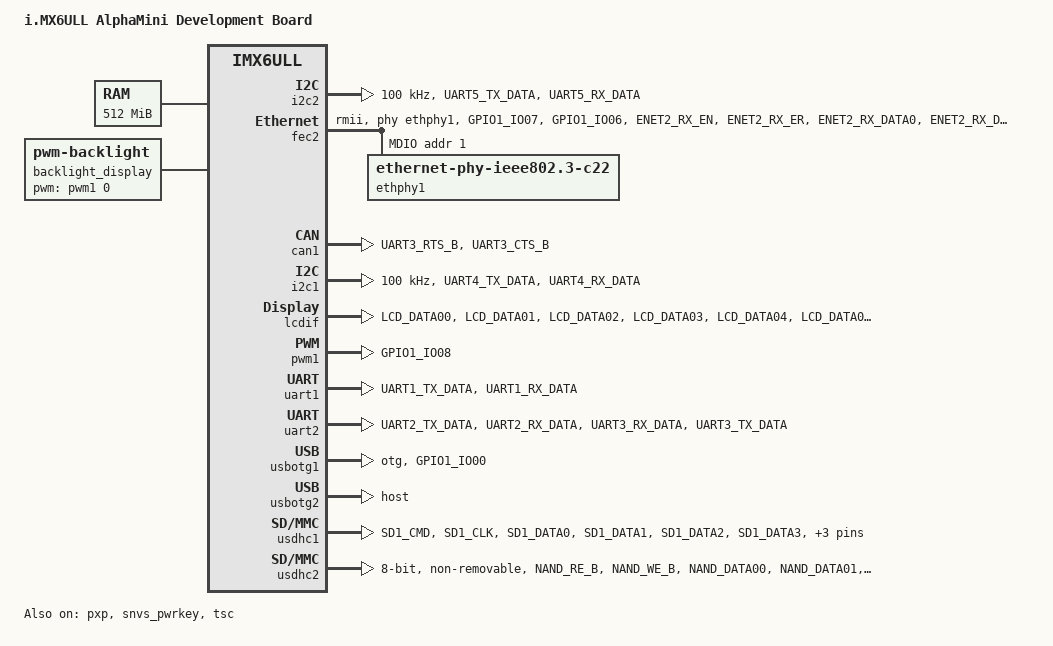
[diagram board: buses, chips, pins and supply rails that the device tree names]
/*
 * Copyright 2019 NXP
 *
 * This program is free software; you can redistribute it and/or
 * modify it under the terms of the GNU General Public License
 * as published by the Free Software Foundation; either version 2
 * of the License, or (at your option) any later version.
 */

/dts-v1/;

#include "imx6ull.dtsi"

/ {
	model = "i.MX6ULL AlphaMini Development Board";
	compatible = "fsl,imx6ull-alphamini", "fsl,imx6ull";

	chosen {
		stdout-path = &uart1;
	};

	memory@80000000 {
		device_type = "memory";
		reg = <0x80000000 0x20000000>;
	};

	reserved-memory {
		#address-cells = <1>;
		#size-cells = <1>;
		ranges;

		linux,cma {
			compatible = "shared-dma-pool";
			reusable;
			size = <0xa000000>;
			linux,cma-default;
		};
	};

	backlight_display: backlight-display {
		compatible = "pwm-backlight";
		pwms = <&pwm1 0 5000000>;
		brightness-levels = <0 4 8 16 32 64 128 255>;
		default-brightness-level = <6>;
		status = "okay";
	};

	pxp_v4l2 {
		compatible = "fsl,imx6ul-pxp-v4l2", "fsl,imx6sx-pxp-v4l2", "fsl,imx6sl-pxp-v4l2";
		status = "okay";
	};
};

&clks {
	assigned-clocks = <&clks IMX6UL_CLK_PLL3_PFD2>,
			  <&clks IMX6UL_CLK_PLL4_AUDIO_DIV>;
	assigned-clock-rates = <320000000>, <786432000>;
};

&i2c2 {
	clock-frequency = <100000>;
	pinctrl-names = "default";
	pinctrl-0 = <&pinctrl_i2c2>;
	status = "okay";
};

&fec2 {
	pinctrl-names = "default";
	pinctrl-0 = <&pinctrl_enet2
				 &pinctrl_enet2_reset>;
	phy-mode = "rmii";
	phy-handle = <&ethphy1>;
	phy-reset-gpios = <&gpio5 8 GPIO_ACTIVE_LOW>;
	phy-reset-duration = <20>;
	phy-reset-post-delay = <20>;
	status = "okay";

	mdio {
		#address-cells = <1>;
		#size-cells = <0>;
		ethphy1: ethernet-phy@1 {
			compatible = "ethernet-phy-ieee802.3-c22";
			reg = <1>;
			smsc,disable-energy-detect;
			clocks = <&clks IMX6UL_CLK_ENET2_REF>;
			clock-names = "rmii-ref";
		};
	};
};

&can1 {
	pinctrl-names = "default";
	pinctrl-0 = <&pinctrl_flexcan1>;
	status = "okay";
};

&i2c1 {
	clock-frequency = <100000>;
	pinctrl-names = "default";
	pinctrl-0 = <&pinctrl_i2c1>;
	status = "okay";
};

&lcdif {
	assigned-clocks = <&clks IMX6UL_CLK_LCDIF_PRE_SEL>;
	assigned-clock-parents = <&clks IMX6UL_CLK_PLL5_VIDEO_DIV>;
	pinctrl-names = "default";
	pinctrl-0 = <&pinctrl_lcdif_dat
		     &pinctrl_lcdif_ctrl>;
	display = <&display0>;
	status = "okay";

	display0: display@0 {
		bits-per-pixel = <24>;
		bus-width = <24>;

		display-timings {
			native-mode = <&timing0>;

			timing0: timing0 {
				clock-frequency = <30000000>;
				hactive = <800>;
				vactive = <480>;
				hfront-porch = <40>;
				hback-porch = <88>;
				hsync-len = <48>;
				vback-porch = <32>;
				vfront-porch = <13>;
				vsync-len = <3>;
				hsync-active = <0>;
				vsync-active = <0>;
				de-active = <1>;
				pixelclk-active = <0>;
			};
		};
	};
};

&pwm1 {
	#pwm-cells = <2>;
	pinctrl-names = "default";
	pinctrl-0 = <&pinctrl_pwm1>;
	status = "okay";
};

&pxp {
	status = "okay";
};

&snvs_poweroff {
	status = "okay";
};

&snvs_pwrkey {
	status = "okay";
};

&tsc {
	pinctrl-names = "default";
	pinctrl-0 = <&pinctrl_tsc>;
	xnur-gpio = <&gpio1 3 GPIO_ACTIVE_LOW>;
	measure-delay-time = <0xffff>;
	pre-charge-time = <0xfff>;
	status = "okay";
};

&uart1 {
	pinctrl-names = "default";
	pinctrl-0 = <&pinctrl_uart1>;
	status = "okay";
};

&uart2 {
	pinctrl-names = "default";
	pinctrl-0 = <&pinctrl_uart2>;
	uart-has-rtscts;
	/* for DTE mode, add below change */
	/* fsl,dte-mode; */
	/* pinctrl-0 = <&pinctrl_uart2dte>; */
	status = "okay";
};

&usbotg1 {
	dr_mode = "otg";
	pinctrl-names = "default";
	pinctrl-0 = <&pinctrl_usb_otg1>;
	status = "okay";
};

&usbotg2 {
	dr_mode = "host";
	disable-over-current;
	status = "okay";
};

&usbphy1 {
	fsl,tx-d-cal = <106>;
};

&usbphy2 {
	fsl,tx-d-cal = <106>;
};

&usdhc1 {
	pinctrl-names = "default", "state_100mhz", "state_200mhz";
	pinctrl-0 = <&pinctrl_usdhc1>;
	pinctrl-1 = <&pinctrl_usdhc1_100mhz>;
	pinctrl-2 = <&pinctrl_usdhc1_200mhz>;
	cd-gpios = <&gpio1 19 GPIO_ACTIVE_LOW>;
	keep-power-in-suspend;
	wakeup-source;
	status = "okay";
};

&usdhc2 {
	pinctrl-names = "default", "state_100mhz", "state_200mhz";
	pinctrl-0 = <&pinctrl_usdhc2_8bit>;
	pinctrl-1 = <&pinctrl_usdhc2_8bit_100mhz>;
	pinctrl-2 = <&pinctrl_usdhc2_8bit_200mhz>;
	bus-width = <8>;
	non-removable;
	no-1-8-v;
	status = "okay";
};


&wdog1 {
	pinctrl-names = "default";
	pinctrl-0 = <&pinctrl_wdog>;
	fsl,ext-reset-output;
};

&iomuxc {
	pinctrl-names = "default";

	pinctrl_enet2: enet2grp {
		fsl,pins = <
			MX6UL_PAD_GPIO1_IO07__ENET2_MDC		0x1b0b0
			MX6UL_PAD_GPIO1_IO06__ENET2_MDIO	0x1b0b0
			MX6UL_PAD_ENET2_RX_EN__ENET2_RX_EN	0x1b0b0
			MX6UL_PAD_ENET2_RX_ER__ENET2_RX_ER	0x1b0b0
			MX6UL_PAD_ENET2_RX_DATA0__ENET2_RDATA00	0x1b0b0
			MX6UL_PAD_ENET2_RX_DATA1__ENET2_RDATA01	0x1b0b0
			MX6UL_PAD_ENET2_TX_EN__ENET2_TX_EN	0x1b0b0
			MX6UL_PAD_ENET2_TX_DATA0__ENET2_TDATA00	0x1b0b0
			MX6UL_PAD_ENET2_TX_DATA1__ENET2_TDATA01	0x1b0b0
			MX6UL_PAD_ENET2_TX_CLK__ENET2_REF_CLK2	0x4001b009
		>;
	};

	pinctrl_enet2_reset: enet2rstgrp {
		fsl,pins = <
			MX6ULL_PAD_SNVS_TAMPER8__GPIO5_IO08	0x10b0
		>;
	};

	pinctrl_flexcan1: flexcan1grp{
		fsl,pins = <
			MX6UL_PAD_UART3_RTS_B__FLEXCAN1_RX	0x1b020
			MX6UL_PAD_UART3_CTS_B__FLEXCAN1_TX	0x1b020
		>;
	};

	pinctrl_i2c1: i2c1grp {
		fsl,pins = <
			MX6UL_PAD_UART4_TX_DATA__I2C1_SCL 0x4001b8b0
			MX6UL_PAD_UART4_RX_DATA__I2C1_SDA 0x4001b8b0
		>;
	};

	pinctrl_i2c2: i2c2grp {
		fsl,pins = <
			MX6UL_PAD_UART5_TX_DATA__I2C2_SCL 0x4001b8b0
			MX6UL_PAD_UART5_RX_DATA__I2C2_SDA 0x4001b8b0
		>;
	};

	pinctrl_lcdif_dat: lcdifdatgrp {
		fsl,pins = <
			MX6UL_PAD_LCD_DATA00__LCDIF_DATA00  0x79
			MX6UL_PAD_LCD_DATA01__LCDIF_DATA01  0x79
			MX6UL_PAD_LCD_DATA02__LCDIF_DATA02  0x79
			MX6UL_PAD_LCD_DATA03__LCDIF_DATA03  0x79
			MX6UL_PAD_LCD_DATA04__LCDIF_DATA04  0x79
			MX6UL_PAD_LCD_DATA05__LCDIF_DATA05  0x79
			MX6UL_PAD_LCD_DATA06__LCDIF_DATA06  0x79
			MX6UL_PAD_LCD_DATA07__LCDIF_DATA07  0x79
			MX6UL_PAD_LCD_DATA08__LCDIF_DATA08  0x79
			MX6UL_PAD_LCD_DATA09__LCDIF_DATA09  0x79
			MX6UL_PAD_LCD_DATA10__LCDIF_DATA10  0x79
			MX6UL_PAD_LCD_DATA11__LCDIF_DATA11  0x79
			MX6UL_PAD_LCD_DATA12__LCDIF_DATA12  0x79
			MX6UL_PAD_LCD_DATA13__LCDIF_DATA13  0x79
			MX6UL_PAD_LCD_DATA14__LCDIF_DATA14  0x79
			MX6UL_PAD_LCD_DATA15__LCDIF_DATA15  0x79
			MX6UL_PAD_LCD_DATA16__LCDIF_DATA16  0x79
			MX6UL_PAD_LCD_DATA17__LCDIF_DATA17  0x79
			MX6UL_PAD_LCD_DATA18__LCDIF_DATA18  0x79
			MX6UL_PAD_LCD_DATA19__LCDIF_DATA19  0x79
			MX6UL_PAD_LCD_DATA20__LCDIF_DATA20  0x79
			MX6UL_PAD_LCD_DATA21__LCDIF_DATA21  0x79
			MX6UL_PAD_LCD_DATA22__LCDIF_DATA22  0x79
			MX6UL_PAD_LCD_DATA23__LCDIF_DATA23  0x79
		>;
	};

	pinctrl_lcdif_ctrl: lcdifctrlgrp {
		fsl,pins = <
			MX6UL_PAD_LCD_CLK__LCDIF_CLK	    0x79
			MX6UL_PAD_LCD_ENABLE__LCDIF_ENABLE  0x79
			MX6UL_PAD_LCD_HSYNC__LCDIF_HSYNC    0x79
			MX6UL_PAD_LCD_VSYNC__LCDIF_VSYNC    0x79
			/* used for lcd reset */
			MX6UL_PAD_SNVS_TAMPER9__GPIO5_IO09  0x79
		>;
	};

	pinctrl_pwm1: pwm1grp {
		fsl,pins = <
			MX6UL_PAD_GPIO1_IO08__PWM1_OUT   0x110b0
		>;
	};

	pinctrl_tsc: tscgrp {
		fsl,pins = <
			MX6UL_PAD_GPIO1_IO01__GPIO1_IO01		0xb0
			MX6UL_PAD_GPIO1_IO02__GPIO1_IO02		0xb0
			MX6UL_PAD_GPIO1_IO03__GPIO1_IO03		0xb0
			MX6UL_PAD_GPIO1_IO04__GPIO1_IO04		0xb0
		>;
	};

	pinctrl_uart1: uart1grp {
		fsl,pins = <
			MX6UL_PAD_UART1_TX_DATA__UART1_DCE_TX 0x1b0b1
			MX6UL_PAD_UART1_RX_DATA__UART1_DCE_RX 0x1b0b1
		>;
	};

	pinctrl_uart2: uart2grp {
		fsl,pins = <
			MX6UL_PAD_UART2_TX_DATA__UART2_DCE_TX	0x1b0b1
			MX6UL_PAD_UART2_RX_DATA__UART2_DCE_RX	0x1b0b1
			MX6UL_PAD_UART3_RX_DATA__UART2_DCE_RTS	0x1b0b1
			MX6UL_PAD_UART3_TX_DATA__UART2_DCE_CTS	0x1b0b1
		>;
	};

	pinctrl_uart2dte: uart2dtegrp {
		fsl,pins = <
			MX6UL_PAD_UART2_TX_DATA__UART2_DTE_RX	0x1b0b1
			MX6UL_PAD_UART2_RX_DATA__UART2_DTE_TX	0x1b0b1
			MX6UL_PAD_UART3_RX_DATA__UART2_DTE_CTS	0x1b0b1
			MX6UL_PAD_UART3_TX_DATA__UART2_DTE_RTS	0x1b0b1
		>;
	};

	pinctrl_usb_otg1: usbotg1grp {
		fsl,pins = <
			MX6UL_PAD_GPIO1_IO00__ANATOP_OTG1_ID	0x17059
		>;
	};

	pinctrl_usdhc1: usdhc1grp {
		fsl,pins = <
			MX6UL_PAD_SD1_CMD__USDHC1_CMD     	0x17059
			MX6UL_PAD_SD1_CLK__USDHC1_CLK		0x10071
			MX6UL_PAD_SD1_DATA0__USDHC1_DATA0 	0x17059
			MX6UL_PAD_SD1_DATA1__USDHC1_DATA1 	0x17059
			MX6UL_PAD_SD1_DATA2__USDHC1_DATA2 	0x17059
			MX6UL_PAD_SD1_DATA3__USDHC1_DATA3 	0x17059
			MX6UL_PAD_UART1_RTS_B__GPIO1_IO19       0x17059 /* SD1 CD */
			MX6UL_PAD_GPIO1_IO05__USDHC1_VSELECT    0x17059 /* SD1 VSELECT */
		>;
	};

	pinctrl_usdhc1_100mhz: usdhc1grp100mhz {
		fsl,pins = <
			MX6UL_PAD_SD1_CMD__USDHC1_CMD     0x170b9
			MX6UL_PAD_SD1_CLK__USDHC1_CLK     0x100b9
			MX6UL_PAD_SD1_DATA0__USDHC1_DATA0 0x170b9
			MX6UL_PAD_SD1_DATA1__USDHC1_DATA1 0x170b9
			MX6UL_PAD_SD1_DATA2__USDHC1_DATA2 0x170b9
			MX6UL_PAD_SD1_DATA3__USDHC1_DATA3 0x170b9

		>;
	};

	pinctrl_usdhc1_200mhz: usdhc1grp200mhz {
		fsl,pins = <
			MX6UL_PAD_SD1_CMD__USDHC1_CMD     0x170f9
			MX6UL_PAD_SD1_CLK__USDHC1_CLK     0x100f9
			MX6UL_PAD_SD1_DATA0__USDHC1_DATA0 0x170f9
			MX6UL_PAD_SD1_DATA1__USDHC1_DATA1 0x170f9
			MX6UL_PAD_SD1_DATA2__USDHC1_DATA2 0x170f9
			MX6UL_PAD_SD1_DATA3__USDHC1_DATA3 0x170f9
		>;
	};

	pinctrl_usdhc2: usdhc2grp {
		fsl,pins = <
			MX6UL_PAD_NAND_RE_B__USDHC2_CLK     0x17059
			MX6UL_PAD_NAND_WE_B__USDHC2_CMD     0x17059
			MX6UL_PAD_NAND_DATA00__USDHC2_DATA0 0x17059
			MX6UL_PAD_NAND_DATA01__USDHC2_DATA1 0x17059
			MX6UL_PAD_NAND_DATA02__USDHC2_DATA2 0x17059
			MX6UL_PAD_NAND_DATA03__USDHC2_DATA3 0x17059
		>;
	};

	pinctrl_usdhc2_8bit: usdhc2grp_8bit {
		fsl,pins = <
			MX6UL_PAD_NAND_RE_B__USDHC2_CLK     0x10069
			MX6UL_PAD_NAND_WE_B__USDHC2_CMD     0x17059
			MX6UL_PAD_NAND_DATA00__USDHC2_DATA0 0x17059
			MX6UL_PAD_NAND_DATA01__USDHC2_DATA1 0x17059
			MX6UL_PAD_NAND_DATA02__USDHC2_DATA2 0x17059
			MX6UL_PAD_NAND_DATA03__USDHC2_DATA3 0x17059
			MX6UL_PAD_NAND_DATA04__USDHC2_DATA4 0x17059
			MX6UL_PAD_NAND_DATA05__USDHC2_DATA5 0x17059
			MX6UL_PAD_NAND_DATA06__USDHC2_DATA6 0x17059
			MX6UL_PAD_NAND_DATA07__USDHC2_DATA7 0x17059
		>;
	};

	pinctrl_usdhc2_8bit_100mhz: usdhc2grp_8bit_100mhz {
		fsl,pins = <
			MX6UL_PAD_NAND_RE_B__USDHC2_CLK     0x100b9
			MX6UL_PAD_NAND_WE_B__USDHC2_CMD     0x170b9
			MX6UL_PAD_NAND_DATA00__USDHC2_DATA0 0x170b9
			MX6UL_PAD_NAND_DATA01__USDHC2_DATA1 0x170b9
			MX6UL_PAD_NAND_DATA02__USDHC2_DATA2 0x170b9
			MX6UL_PAD_NAND_DATA03__USDHC2_DATA3 0x170b9
			MX6UL_PAD_NAND_DATA04__USDHC2_DATA4 0x170b9
			MX6UL_PAD_NAND_DATA05__USDHC2_DATA5 0x170b9
			MX6UL_PAD_NAND_DATA06__USDHC2_DATA6 0x170b9
			MX6UL_PAD_NAND_DATA07__USDHC2_DATA7 0x170b9
		>;
	};

	pinctrl_usdhc2_8bit_200mhz: usdhc2grp_8bit_200mhz {
		fsl,pins = <
			MX6UL_PAD_NAND_RE_B__USDHC2_CLK     0x100f9
			MX6UL_PAD_NAND_WE_B__USDHC2_CMD     0x170f9
			MX6UL_PAD_NAND_DATA00__USDHC2_DATA0 0x170f9
			MX6UL_PAD_NAND_DATA01__USDHC2_DATA1 0x170f9
			MX6UL_PAD_NAND_DATA02__USDHC2_DATA2 0x170f9
			MX6UL_PAD_NAND_DATA03__USDHC2_DATA3 0x170f9
			MX6UL_PAD_NAND_DATA04__USDHC2_DATA4 0x170f9
			MX6UL_PAD_NAND_DATA05__USDHC2_DATA5 0x170f9
			MX6UL_PAD_NAND_DATA06__USDHC2_DATA6 0x170f9
			MX6UL_PAD_NAND_DATA07__USDHC2_DATA7 0x170f9
		>;
	};

	pinctrl_wdog: wdoggrp {
		fsl,pins = <
			MX6UL_PAD_LCD_RESET__WDOG1_WDOG_ANY    0x30b0
		>;
	};
};
